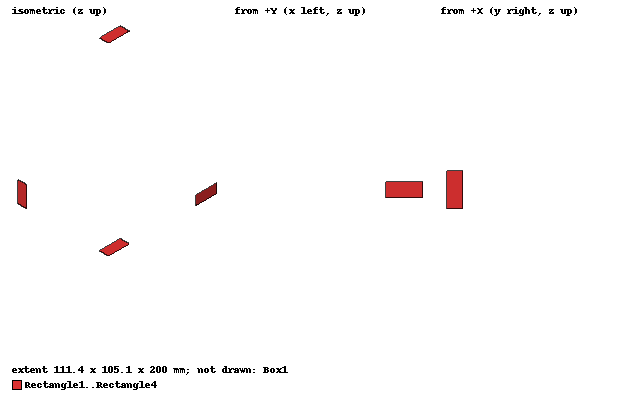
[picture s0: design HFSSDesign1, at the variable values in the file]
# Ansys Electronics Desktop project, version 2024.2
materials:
  vacuum: permittivity=1
  air: permittivity=1.0006 permeability=1.0000004

design HFSSDesign1 (HFSS, HFSS Terminal Network, model units mm)
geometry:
  Box1 [air] = box(corner=((-22.86/2) mm, (-10.16/2) mm, 0mm), size=(22.86mm, 10.16mm, 100mm))
  Box1_1, Box1_2 = Box1.duplicate_around_axis(axis=Y, angle=90deg, total=3)
  Box1_3 = Box1.duplicate_around_axis(axis=X, angle=-90deg, total=2)
  Box1.unite(Box1_1, Box1_2, Box1_3)
  Rectangle1 = rectangle(corner=(100mm, 5.08mm, 11.43mm), y_size=-10.16mm, z_size=-22.86mm)
  Rectangle2 = rectangle(corner=(-11.43mm, 5.08mm, 100mm), x_size=22.86mm, y_size=-10.16mm)
  Rectangle3 = rectangle(corner=(11.43mm, 5.08mm, -100mm), x_size=-22.86mm, y_size=-10.16mm)
  Rectangle4 = rectangle(corner=(11.43mm, 100mm, 5.08mm), z_size=-10.16mm, x_size=-22.86mm)
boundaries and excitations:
  1: Wave Port Objects=Rectangle1 WavePortType=Modal NumModes=1 Modes{Mode1{IntLine{(100, -5.08, 0) -> (100, 5.08, 0)} CharImp=Zpi}}
  2: Wave Port Objects=Rectangle2 WavePortType=Modal NumModes=1 Modes{Mode1{IntLine{(0, -5.08, 100) -> (0, 5.08, 100)} CharImp=Zpi}}
  3: Wave Port Objects=Rectangle3 WavePortType=Modal NumModes=1 Modes{Mode1{IntLine{(0, -5.08, -100) -> (0, 5.08, -100)} CharImp=Zpi}}
  4: Wave Port Objects=Rectangle4 WavePortType=Modal NumModes=1 Modes{Mode1{IntLine{(0, 100, -5.08) -> (0, 100, 5.08)} CharImp=Zpi}}
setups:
  Setup1: HfssDriven Frequency=10GHz MaxDeltaS=0.02 MaximumPasses=6 MinimumPasses=1 MinimumConvergedPasses=1 PercentRefinement=30 BasisOrder=1 PortAccuracy=2 DrivenSolverType="Direct Solver"
    sweep Sweep: 5GHz to 15GHz, 401 points; Type=Interpolating InterpTolerance=0.5 InterpMaxSolns=250 PassivityErrorTolerance=0.0001
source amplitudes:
  1:1: 1V 0deg
  2:1, 3:1, 4:1: 0V 0deg
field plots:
  Mag_E1: E Field in Box1 on Setup1 : LastAdaptive at Freq=10GHz Phase=0deg
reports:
  S Parameter Plot 1: dB(S(1,1)), dB(S(2,2)), dB(S(3,3)), dB(S(4,4)) vs Freq on Setup1 : Sweep
